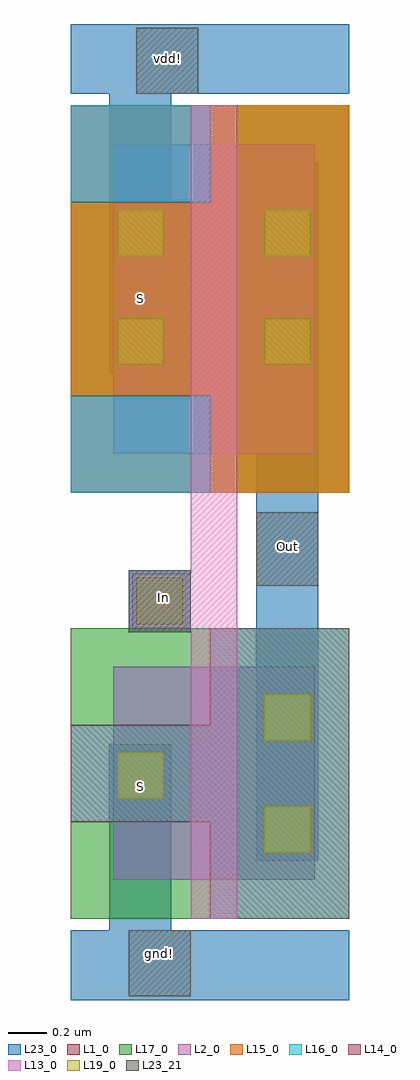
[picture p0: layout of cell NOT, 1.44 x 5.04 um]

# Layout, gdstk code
import gdstk
lib = gdstk.Library(unit=1e-6, precision=1e-09)
def R(c, l, rs):  # rectangles x0, y0, x1, y1
    for r in rs: c.add(gdstk.rectangle(r[:2], r[2:], *l))
def P(c, l, *ps):  # polygons
    for p in ps: c.add(gdstk.Polygon(p, *l))
L1_0 = (1, 0)
L2_0 = (2, 0)
L13_0 = (13, 0)
L14_0 = (14, 0)
L15_0 = (15, 0)
L16_0 = (16, 0)
L17_0 = (17, 0)
L19_0 = (19, 0)
L23_0 = (23, 0)
L23_21 = (23, 21)

not_ = lib.new_cell('NOT')
R(not_, L1_0, [(0,2.6,1.44,4.6)])
R(not_, L2_0, [(0.22,0.6,1.26,1.7), (0.22,2.8,1.26,4.4)])
P(not_, L13_0, [(0.86,4.6),(0.62,4.6),(0.62,2.18),(0.32,2.18),(0.32,1.9),(0.62,1.9),(0.62,0.4),(0.86,0.4)])
P(not_, L14_0, [(1.44,1.9),(0.72,1.9),(0.72,1.4),(0,1.4),(0,0.9),(0.72,0.9),(0.72,0.4),(1.44,0.4)])
P(not_, L15_0, [(1.44,4.6),(0.72,4.6),(0.72,4.1),(0,4.1),(0,3.1),(0.72,3.1),(0.72,2.6),(1.44,2.6)])
R(not_, L16_0, [(0,2.6,0.72,3.1), (0,4.1,0.72,4.6)])
P(not_, L16_0, [(1.44,1.9),(0.72,1.9),(0.72,1.4),(0,1.4),(0,0.9),(0.72,0.9),(0.72,0.4),(1.44,0.4)])
R(not_, L17_0, [(0,0.4,0.72,0.9), (0,1.4,0.72,1.9)])
P(not_, L17_0, [(1.44,4.6),(0.72,4.6),(0.72,4.1),(0,4.1),(0,3.1),(0.72,3.1),(0.72,2.6),(1.44,2.6)])
R(not_, L19_0, [(1,0.74,1.24,0.98), (0.24,1.02,0.48,1.26), (1,1.32,1.24,1.56), (0.34,1.92,0.58,2.16), (0.24,3.26,0.48,3.5), (1,3.26,1.24,3.5), (0.24,3.82,0.48,4.06), (1,3.82,1.24,4.06)])
R(not_, L23_0, [(0.96,0.7,1.28,4.3), (0.3,1.88,0.62,2.2)])
P(not_, L23_0, [(1.44,5.02),(0,5.02),(0,4.66),(0.2,4.66),(0.2,3.22),(0.52,3.22),(0.52,4.66),(1.44,4.66)],
  [(1.44,0.34),(0.52,0.34),(0.52,1.3),(0.2,1.3),(0.2,0.34),(0,0.34),(0,-0.02),(1.44,-0.02)])
R(not_, L23_21, [(0.3,0,0.62,0.34), (0.3,1.88,0.62,2.2), (0.96,2.12,1.28,2.5), (0.34,4.66,0.66,5)])
not_.add(gdstk.Label('S', (0.36,1.08), layer=60, texttype=0))
not_.add(gdstk.Label('S', (0.36,3.6), layer=60, texttype=0))
not_.add(gdstk.Label('In', (0.48,2.06), layer=23, texttype=21))
not_.add(gdstk.Label('vdd!', (0.5,4.84), layer=23, texttype=21))
not_.add(gdstk.Label('gnd!', (0.46,0.22), layer=23, texttype=21))
not_.add(gdstk.Label('Out', (1.12,2.32), layer=23, texttype=21))

lib.write_gds('NOT.gds')
